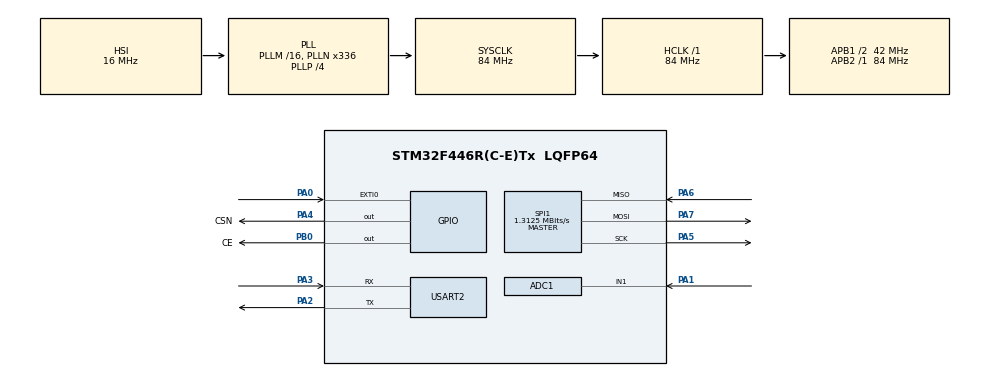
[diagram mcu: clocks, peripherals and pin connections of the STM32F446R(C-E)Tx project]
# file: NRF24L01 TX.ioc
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ADC1.Channel-1\#ChannelRegularConversion=ADC_CHANNEL_1
ADC1.NbrOfConversionFlag=1
ADC1.Rank-1\#ChannelRegularConversion=1
ADC1.SamplingTime-1\#ChannelRegularConversion=ADC_SAMPLETIME_3CYCLES
ADC1.master=1
Mcu.Family=STM32F4
Mcu.Name=STM32F446R(C-E)Tx
Mcu.Package=LQFP64
NVIC.EXTI0_IRQn=true\:0\:0\:false\:false\:true\:true\:true\:true
NVIC.PriorityGroup=NVIC_PRIORITYGROUP_0
NVIC.SPI1_IRQn=true\:0\:0\:false\:false\:true\:true\:true\:true
NVIC.USART2_IRQn=true\:0\:0\:false\:false\:true\:true\:true\:true
PA0-WKUP.GPIO_ModeDefaultEXTI=GPIO_MODE_IT_FALLING
PA0-WKUP.Signal=GPXTI0
PA1.Signal=ADCx_IN1
PA14.GPIO_Label=TCK
PA14.Signal=SYS_JTCK-SWCLK
PA2.Mode=Asynchronous
PA2.Signal=USART2_TX
PA3.Mode=Asynchronous
PA3.Signal=USART2_RX
PA4.GPIO_Label=CSN
PA4.GPIO_Speed=GPIO_SPEED_FREQ_HIGH
PA4.PinState=GPIO_PIN_RESET
PA4.Signal=GPIO_Output
PA5.Mode=Full_Duplex_Master
PA5.Signal=SPI1_SCK
PA6.Mode=Full_Duplex_Master
PA6.Signal=SPI1_MISO
PA7.Mode=Full_Duplex_Master
PA7.Signal=SPI1_MOSI
PB0.GPIO_Label=CE
PB0.GPIO_Speed=GPIO_SPEED_FREQ_HIGH
PB0.Signal=GPIO_Output
PB3.GPIO_Label=SWO
PB3.Signal=SYS_JTDO-SWO
PH1-OSC_OUT.Signal=RCC_OSC_OUT
ProjectManager.HeapSize=0x200
ProjectManager.StackSize=0x400
ProjectManager.TargetToolchain=STM32CubeIDE
RCC.48MHZClocksFreq_Value=84000000
RCC.AHBFreq_Value=84000000
RCC.APB1CLKDivider=RCC_HCLK_DIV2
RCC.APB1Freq_Value=42000000
RCC.APB1TimFreq_Value=84000000
RCC.APB2Freq_Value=84000000
RCC.APB2TimFreq_Value=84000000
RCC.CortexFreq_Value=84000000
RCC.FLatency-AdvancedSettings=FLASH_LATENCY_2
RCC.HCLKFreq_Value=84000000
RCC.HSE_VALUE=8000000
RCC.HSI_VALUE=16000000
RCC.PLLN=336
RCC.PLLP=RCC_PLLP_DIV4
RCC.SYSCLKFreq_VALUE=84000000
RCC.SYSCLKSource=RCC_SYSCLKSOURCE_PLLCLK
RCC.USBFreq_Value=168000000
RCC.VCOOutputFreq_Value=336000000
SH.ADCx_IN1.0=ADC1_IN1,IN1
SPI1.BaudRatePrescaler=SPI_BAUDRATEPRESCALER_64
SPI1.CalculateBaudRate=1.3125 MBits/s
SPI1.Direction=SPI_DIRECTION_2LINES
SPI1.Mode=SPI_MODE_MASTER
SPI1.VirtualType=VM_MASTER
USART2.VirtualMode=VM_ASYNC
VP_TIM1_VS_ClockSourceINT.Mode=Internal
board=NUCLEO-F446RE

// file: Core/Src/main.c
/* USER CODE BEGIN Header */
/**
  ******************************************************************************
  * @file           : main.c
  * @brief          : Main program body
  ******************************************************************************
  * @attention
  *
  * Copyright (c) 2026 STMicroelectronics.
  * All rights reserved.
  *
  * This software is licensed under terms that can be found in the LICENSE file
  * in the root directory of this software component.
  * If no LICENSE file comes with this software, it is provided AS-IS.
  *
  ******************************************************************************
  */
/* USER CODE END Header */
#include "main.h"

/* USER CODE BEGIN Includes */
#include <string.h>
#include "NRF24.h"
#include "NRF24_reg_addresses.h"
#include <stdio.h>
/* USER CODE END Includes */

ADC_HandleTypeDef hadc1;

SPI_HandleTypeDef hspi1;

TIM_HandleTypeDef htim1;

UART_HandleTypeDef huart2;

void SystemClock_Config(void);
static void MX_GPIO_Init(void);
static void MX_SPI1_Init(void);
static void MX_TIM1_Init(void);
static void MX_USART2_UART_Init(void);
static void MX_ADC1_Init(void);

/* USER CODE BEGIN 0 */
#define PLD_S 32

//uint8_t tx_addr[5] = {0x45, 0x55, 0x67, 0x10, 0x21};
uint8_t tx_addr[5] = {'R','x','A','A','A'};
uint16_t data = 0;

uint8_t dataT[PLD_S]={"From STM32"};

/* USER CODE END 0 */

int main(void)
{

  /* MCU Configuration--------------------------------------------------------*/

  /* Reset of all peripherals, Initializes the Flash interface and the Systick. */
  HAL_Init();

  /* Configure the system clock */
  SystemClock_Config();

  /* Initialize all configured peripherals */
  MX_GPIO_Init();
  MX_SPI1_Init();
  MX_TIM1_Init();
  MX_USART2_UART_Init();
  MX_ADC1_Init();
  /* USER CODE BEGIN 2 */

  csn_high();

  HAL_Delay(5);

  ce_low();

  nrf24_init();

  HAL_Delay(100);

  nrf24_stop_listen();

  nrf24_auto_ack_all(no_auto_ack);
  nrf24_en_ack_pld(disable);
  nrf24_dpl(disable);

  nrf24_set_crc(no_crc, _1byte);
  //nrf24_set_crc(EN_CRC, _1byte);

  //nrf24_tx_pwr(_0dbm);
  nrf24_tx_pwr(n18dbm);
  nrf24_data_rate(_1mbps);
  nrf24_set_channel(100);
  nrf24_set_addr_width(5);

  nrf24_set_rx_dpl(0, disable);
  nrf24_set_rx_dpl(1, disable);
  nrf24_set_rx_dpl(2, disable);
  nrf24_set_rx_dpl(3, disable);
  nrf24_set_rx_dpl(4, disable);
  nrf24_set_rx_dpl(5, disable);

  nrf24_pipe_pld_size(0, PLD_S);

  nrf24_auto_retr_delay(4);
  nrf24_auto_retr_limit(10);

  nrf24_open_tx_pipe(tx_addr);
  //nrf24_open_rx_pipe(0, tx_addr);
  //ce_high();

  /* USER CODE END 2 */

  /* Infinite loop */
  /* USER CODE BEGIN WHILE */
  while (1)
  {
      //uint8_t dataT[32] = "STM32 TX packet";

	  static uint32_t counter = 0;   // persistent counter
	  uint8_t dataT[32] = {0};

	  // Create payload with counter
	  sprintf((char*)dataT, "%lu", counter++);

      ce_low();

      uint8_t val = nrf24_transmit(dataT, 32);

      ce_high();

      HAL_Delay(1);

      ce_low();

      char tmp[50];

      sprintf(tmp, "TX status = %d\r\n", val);

      HAL_UART_Transmit(&huart2,
                        (uint8_t*)tmp,
                        strlen(tmp),
                        HAL_MAX_DELAY);

      HAL_Delay(1000);
  }
}

void SystemClock_Config(void)
{
  RCC_OscInitTypeDef RCC_OscInitStruct = {0};
  RCC_ClkInitTypeDef RCC_ClkInitStruct = {0};

  /** Configure the main internal regulator output voltage
  */
  __HAL_RCC_PWR_CLK_ENABLE();
  __HAL_PWR_VOLTAGESCALING_CONFIG(PWR_REGULATOR_VOLTAGE_SCALE3);

  /** Initializes the RCC Oscillators according to the specified parameters
  * in the RCC_OscInitTypeDef structure.
  */
  RCC_OscInitStruct.OscillatorType = RCC_OSCILLATORTYPE_HSI;
  RCC_OscInitStruct.HSIState = RCC_HSI_ON;
  RCC_OscInitStruct.HSICalibrationValue = RCC_HSICALIBRATION_DEFAULT;
  RCC_OscInitStruct.PLL.PLLState = RCC_PLL_ON;
  RCC_OscInitStruct.PLL.PLLSource = RCC_PLLSOURCE_HSI;
  RCC_OscInitStruct.PLL.PLLM = 16;
  RCC_OscInitStruct.PLL.PLLN = 336;
  RCC_OscInitStruct.PLL.PLLP = RCC_PLLP_DIV4;
  RCC_OscInitStruct.PLL.PLLQ = 2;
  RCC_OscInitStruct.PLL.PLLR = 2;
  if (HAL_RCC_OscConfig(&RCC_OscInitStruct) != HAL_OK)
  {
    Error_Handler();
  }

  /** Initializes the CPU, AHB and APB buses clocks
  */
  RCC_ClkInitStruct.ClockType = RCC_CLOCKTYPE_HCLK|RCC_CLOCKTYPE_SYSCLK
                              |RCC_CLOCKTYPE_PCLK1|RCC_CLOCKTYPE_PCLK2;
  RCC_ClkInitStruct.SYSCLKSource = RCC_SYSCLKSOURCE_PLLCLK;
  RCC_ClkInitStruct.AHBCLKDivider = RCC_SYSCLK_DIV1;
  RCC_ClkInitStruct.APB1CLKDivider = RCC_HCLK_DIV2;
  RCC_ClkInitStruct.APB2CLKDivider = RCC_HCLK_DIV1;

  if (HAL_RCC_ClockConfig(&RCC_ClkInitStruct, FLASH_LATENCY_2) != HAL_OK)
  {
    Error_Handler();
  }
}

static void MX_ADC1_Init(void)
{

  ADC_ChannelConfTypeDef sConfig = {0};

  /** Configure the global features of the ADC (Clock, Resolution, Data Alignment and number of conversion)
  */
  hadc1.Instance = ADC1;
  hadc1.Init.ClockPrescaler = ADC_CLOCK_SYNC_PCLK_DIV4;
  hadc1.Init.Resolution = ADC_RESOLUTION_12B;
  hadc1.Init.ScanConvMode = DISABLE;
  hadc1.Init.ContinuousConvMode = DISABLE;
  hadc1.Init.DiscontinuousConvMode = DISABLE;
  hadc1.Init.ExternalTrigConvEdge = ADC_EXTERNALTRIGCONVEDGE_NONE;
  hadc1.Init.ExternalTrigConv = ADC_SOFTWARE_START;
  hadc1.Init.DataAlign = ADC_DATAALIGN_RIGHT;
  hadc1.Init.NbrOfConversion = 1;
  hadc1.Init.DMAContinuousRequests = DISABLE;
  hadc1.Init.EOCSelection = ADC_EOC_SINGLE_CONV;
  if (HAL_ADC_Init(&hadc1) != HAL_OK)
  {
    Error_Handler();
  }

  /** Configure for the selected ADC regular channel its corresponding rank in the sequencer and its sample time.
  */
  sConfig.Channel = ADC_CHANNEL_1;
  sConfig.Rank = 1;
  sConfig.SamplingTime = ADC_SAMPLETIME_3CYCLES;
  if (HAL_ADC_ConfigChannel(&hadc1, &sConfig) != HAL_OK)
  {
    Error_Handler();
  }

}

static void MX_SPI1_Init(void)
{

  /* SPI1 parameter configuration*/
  hspi1.Instance = SPI1;
  hspi1.Init.Mode = SPI_MODE_MASTER;
  hspi1.Init.Direction = SPI_DIRECTION_2LINES;
  hspi1.Init.DataSize = SPI_DATASIZE_8BIT;
  hspi1.Init.CLKPolarity = SPI_POLARITY_LOW;
  hspi1.Init.CLKPhase = SPI_PHASE_1EDGE;
  hspi1.Init.NSS = SPI_NSS_SOFT;
  hspi1.Init.BaudRatePrescaler = SPI_BAUDRATEPRESCALER_64;
  hspi1.Init.FirstBit = SPI_FIRSTBIT_MSB;
  hspi1.Init.TIMode = SPI_TIMODE_DISABLE;
  hspi1.Init.CRCCalculation = SPI_CRCCALCULATION_DISABLE;
  hspi1.Init.CRCPolynomial = 10;
  if (HAL_SPI_Init(&hspi1) != HAL_OK)
  {
    Error_Handler();
  }

}

static void MX_TIM1_Init(void)
{

  TIM_ClockConfigTypeDef sClockSourceConfig = {0};
  TIM_MasterConfigTypeDef sMasterConfig = {0};

  htim1.Instance = TIM1;
  htim1.Init.Prescaler = 0;
  htim1.Init.CounterMode = TIM_COUNTERMODE_UP;
  htim1.Init.Period = 65535;
  htim1.Init.ClockDivision = TIM_CLOCKDIVISION_DIV1;
  htim1.Init.RepetitionCounter = 0;
  htim1.Init.AutoReloadPreload = TIM_AUTORELOAD_PRELOAD_DISABLE;
  if (HAL_TIM_Base_Init(&htim1) != HAL_OK)
  {
    Error_Handler();
  }
  sClockSourceConfig.ClockSource = TIM_CLOCKSOURCE_INTERNAL;
  if (HAL_TIM_ConfigClockSource(&htim1, &sClockSourceConfig) != HAL_OK)
  {
    Error_Handler();
  }
  sMasterConfig.MasterOutputTrigger = TIM_TRGO_RESET;
  sMasterConfig.MasterSlaveMode = TIM_MASTERSLAVEMODE_DISABLE;
  if (HAL_TIMEx_MasterConfigSynchronization(&htim1, &sMasterConfig) != HAL_OK)
  {
    Error_Handler();
  }

}

static void MX_USART2_UART_Init(void)
{

  huart2.Instance = USART2;
  huart2.Init.BaudRate = 115200;
  huart2.Init.WordLength = UART_WORDLENGTH_8B;
  huart2.Init.StopBits = UART_STOPBITS_1;
  huart2.Init.Parity = UART_PARITY_NONE;
  huart2.Init.Mode = UART_MODE_TX_RX;
  huart2.Init.HwFlowCtl = UART_HWCONTROL_NONE;
  huart2.Init.OverSampling = UART_OVERSAMPLING_16;
  if (HAL_UART_Init(&huart2) != HAL_OK)
  {
    Error_Handler();
  }

}

static void MX_GPIO_Init(void)
{
  GPIO_InitTypeDef GPIO_InitStruct = {0};

  /* GPIO Ports Clock Enable */
  __HAL_RCC_GPIOH_CLK_ENABLE();
  __HAL_RCC_GPIOA_CLK_ENABLE();
  __HAL_RCC_GPIOB_CLK_ENABLE();

  /*Configure GPIO pin Output Level */
  HAL_GPIO_WritePin(CSN_GPIO_Port, CSN_Pin, GPIO_PIN_RESET);

  /*Configure GPIO pin Output Level */
  HAL_GPIO_WritePin(CE_GPIO_Port, CE_Pin, GPIO_PIN_RESET);

  /*Configure GPIO pin : PA0 */
  GPIO_InitStruct.Pin = GPIO_PIN_0;
  GPIO_InitStruct.Mode = GPIO_MODE_IT_FALLING;
  GPIO_InitStruct.Pull = GPIO_NOPULL;
  HAL_GPIO_Init(GPIOA, &GPIO_InitStruct);

  /*Configure GPIO pin : CSN_Pin */
  GPIO_InitStruct.Pin = CSN_Pin;
  GPIO_InitStruct.Mode = GPIO_MODE_OUTPUT_PP;
  GPIO_InitStruct.Pull = GPIO_NOPULL;
  GPIO_InitStruct.Speed = GPIO_SPEED_FREQ_HIGH;
  HAL_GPIO_Init(CSN_GPIO_Port, &GPIO_InitStruct);

  /*Configure GPIO pin : CE_Pin */
  GPIO_InitStruct.Pin = CE_Pin;
  GPIO_InitStruct.Mode = GPIO_MODE_OUTPUT_PP;
  GPIO_InitStruct.Pull = GPIO_NOPULL;
  GPIO_InitStruct.Speed = GPIO_SPEED_FREQ_HIGH;
  HAL_GPIO_Init(CE_GPIO_Port, &GPIO_InitStruct);

  /* EXTI interrupt init*/
  HAL_NVIC_SetPriority(EXTI0_IRQn, 0, 0);
  HAL_NVIC_EnableIRQ(EXTI0_IRQn);

}

void Error_Handler(void)
{
  __disable_irq();
  while (1)
  {
  }
}
